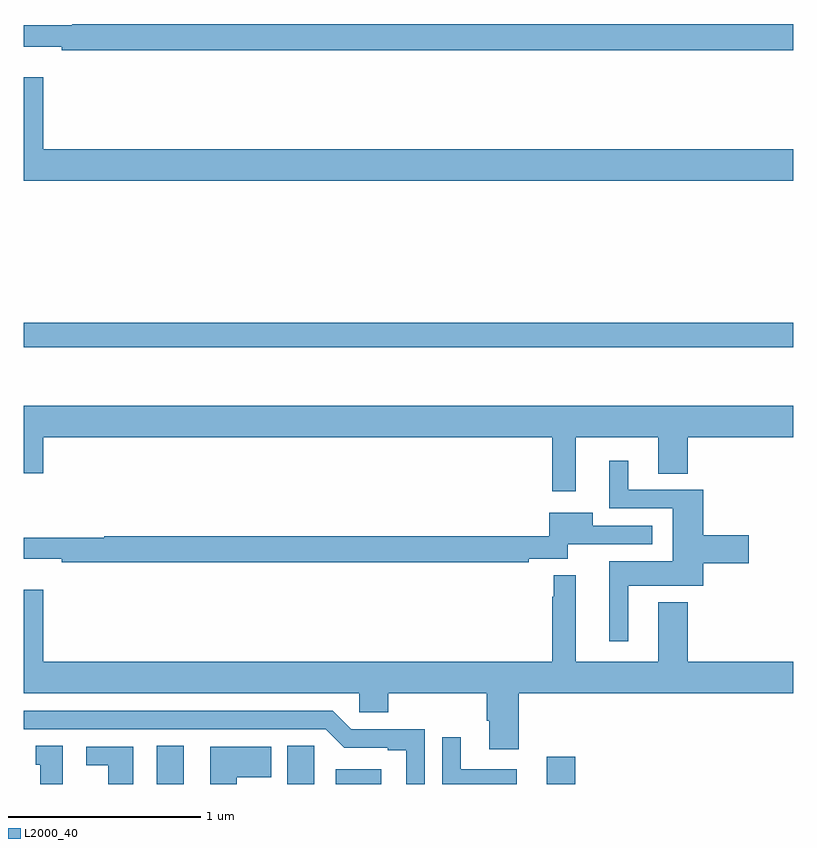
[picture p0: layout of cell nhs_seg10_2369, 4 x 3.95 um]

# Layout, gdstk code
import gdstk
lib = gdstk.Library(unit=1e-6, precision=1e-09)
def R(c, l, rs):  # rectangles x0, y0, x1, y1
    for r in rs: c.add(gdstk.rectangle(r[:2], r[2:], *l))
def P(c, l, *ps):  # polygons
    for p in ps: c.add(gdstk.Polygon(p, *l))
L2000_40 = (2000, 40)

nhs_seg10_2369 = lib.new_cell('nhs_seg10_2369')
R(nhs_seg10_2369, L2000_40, [(237.692,1310.5,237.832,1310.699), (238.622,1310.5,238.858,1310.578), (239.72,1310.5,239.867,1310.641), (237,1312.77,241,1312.898)])
P(nhs_seg10_2369, L2000_40, [(241,1314.452),(237.251,1314.452),(237.251,1314.445),(237,1314.445),(237,1314.335),(237.196,1314.335),(237.196,1314.316),(241,1314.316)],
  [(241,1313.8),(237.1,1313.8),(237.1,1314.175),(237,1314.175),(237,1313.636),(241,1313.636)],
  [(237,1312.116),(237.1,1312.116),(237.1,1312.304),(239.748,1312.304),(239.748,1312.023),(239.869,1312.023),(239.869,1312.304),(240.299,1312.304),(240.299,1312.114),(240.452,1312.114),(240.452,1312.304),(241,1312.304),(241,1312.468),(237,1312.468)],
  [(240.142,1311.53),(240.533,1311.53),(240.533,1311.647),(240.769,1311.647),(240.769,1311.794),(240.533,1311.794),(240.533,1312.029),(240.142,1312.029),(240.142,1312.18),(240.044,1312.18),(240.044,1311.933),(240.374,1311.933),(240.374,1311.658),(240.044,1311.658),(240.044,1311.243),(240.142,1311.243)],
  [(239.626,1311.672),(239.829,1311.672),(239.829,1311.747),(240.268,1311.747),(240.268,1311.843),(239.959,1311.843),(239.959,1311.91),(239.733,1311.91),(239.733,1311.788),(237.419,1311.788),(237.419,1311.781),(237,1311.781),(237,1311.671),(237.196,1311.671),(237.196,1311.652),(239.626,1311.652)],
  [(239.573,1310.972),(241,1310.972),(241,1311.136),(240.452,1311.136),(240.452,1311.445),(240.299,1311.445),(240.299,1311.136),(239.869,1311.136),(239.869,1311.586),(239.756,1311.586),(239.756,1311.473),(239.748,1311.473),(239.748,1311.136),(237.1,1311.136),(237.1,1311.511),(237,1311.511),(237,1310.972),(238.743,1310.972),(238.743,1310.874),(238.895,1310.874),(238.895,1310.972),(239.408,1310.972),(239.408,1310.83),(239.42,1310.83),(239.42,1310.682),(239.573,1310.682)],
  [(239.085,1310.784),(238.701,1310.784),(238.605,1310.88),(237,1310.88),(237,1310.784),(238.569,1310.784),(238.665,1310.688),(238.892,1310.688),(238.892,1310.676),(238.988,1310.676),(238.988,1310.5),(239.085,1310.5)],
  [(239.563,1310.578),(239.272,1310.578),(239.272,1310.743),(239.175,1310.743),(239.175,1310.5),(239.563,1310.5)],
  [(238.51,1310.588),(238.509,1310.588),(238.509,1310.699),(238.37,1310.699),(238.37,1310.5),(238.51,1310.5)],
  [(237.202,1310.699),(237.062,1310.699),(237.062,1310.601),(237.086,1310.601),(237.086,1310.5),(237.202,1310.5)],
  [(238.108,1310.536),(238.285,1310.536),(238.285,1310.695),(237.968,1310.695),(237.968,1310.5),(238.108,1310.5)],
  [(237.568,1310.694),(237.324,1310.694),(237.324,1310.598),(237.44,1310.598),(237.44,1310.5),(237.568,1310.5)])

lib.write_gds('nhs_seg10_2369.gds')
